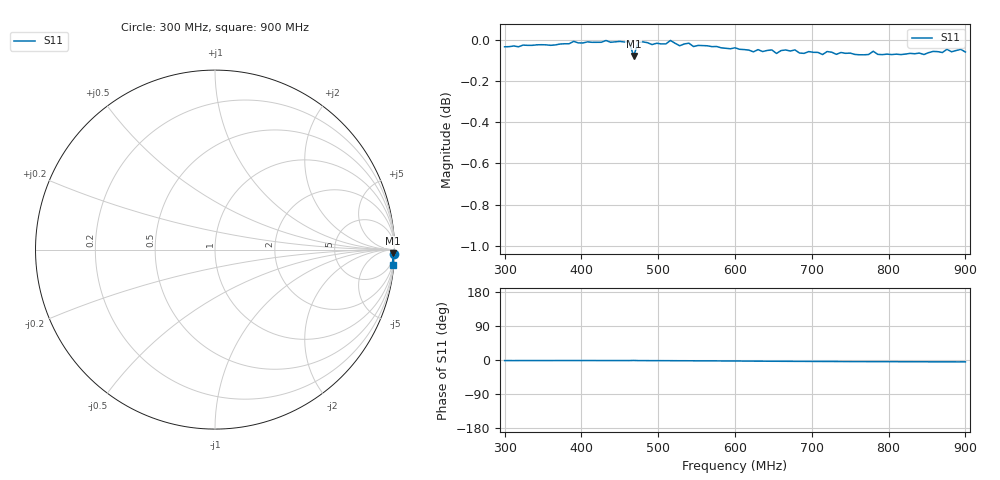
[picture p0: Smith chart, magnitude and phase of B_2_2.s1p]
# HZ S RI R 50
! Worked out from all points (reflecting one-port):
!   101 points, 300 MHz to 900 MHz, reference 50 ohm
!   lowest |S11| = -0.1 dB at 468 MHz (marker M1), VSWR 224.96, Z = 1.82e+03 - j4.14e+03 ohm
!   phase of S11 starts at -2 deg and turns -3 deg over the sweep
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3e8  0.9959 -0.0263
3.78e8  0.9976 -0.0244
4.5e8  0.9989 -0.0256
4.62e8  0.9988 -0.0267
4.68e8  0.9909 -0.0201
4.74e8  0.9982 -0.0275
5.1e8  0.9973 -0.0311
5.16e8  0.9992 -0.0319
5.28e8  0.9962 -0.034
5.4e8  0.9976 -0.0351
5.46e8  0.9957 -0.0365
6e8  0.9946 -0.0459
6.24e8  0.992 -0.0517
6.48e8  0.9928 -0.0577
6.54e8  0.9908 -0.0576
6.78e8  0.9925 -0.0624
6.84e8  0.9907 -0.0633
7.14e8  0.9896 -0.0673
7.2e8  0.9913 -0.0675
7.5e8  0.99 -0.0724
7.74e8  0.9891 -0.0746
7.8e8  0.9907 -0.0778
7.86e8  0.9891 -0.0751
8.28e8  0.9894 -0.0789
8.7e8  0.9895 -0.0828
8.76e8  0.9914 -0.0827
8.88e8  0.9905 -0.0855
9e8  0.9898 -0.0834
